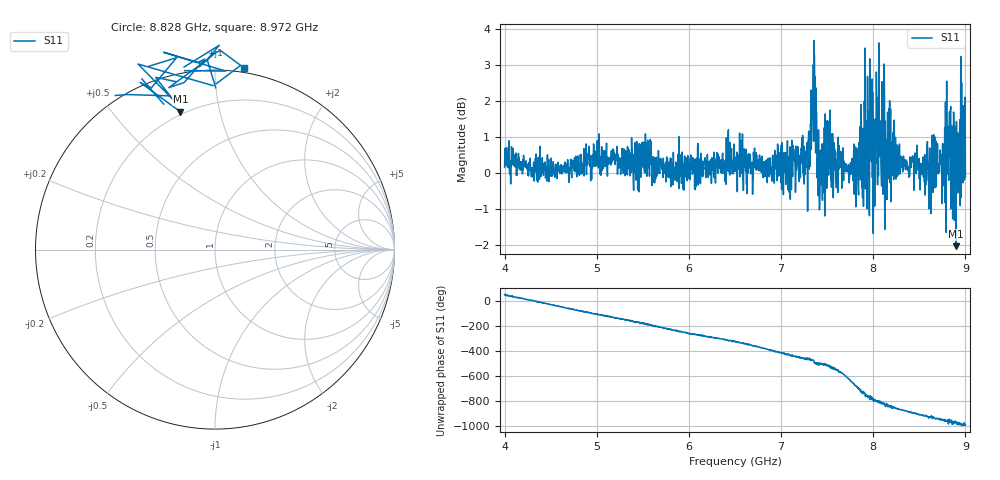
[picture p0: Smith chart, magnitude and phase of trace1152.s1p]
! Created with skrf 1.8.0 (http://scikit-rf.org).
# Hz S RI R 50.0
!freq ReS11 ImS11
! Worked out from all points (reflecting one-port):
!   1601 points, 4 GHz to 9 GHz, reference 50 ohm
!   lowest |S11| = -2.0 dB at 8.9 GHz (marker M1), VSWR 8.62, Z = 9.25 + j38.1 ohm
!   phase of S11 starts at 54 deg and turns -1047 deg over the sweep
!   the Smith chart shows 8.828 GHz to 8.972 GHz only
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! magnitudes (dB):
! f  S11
! 4 GHz  0.2
! 4.625 GHz  0.0
! 5.25 GHz  0.4
! 5.875 GHz  0.3
! 6.5 GHz  0.0
! 7.125 GHz  -0.1
! 7.262 GHz  0.0
! 7.309 GHz  0.4
! 7.344 GHz  1.5
! 7.359 GHz  3.3
! 7.397 GHz  -0.1
! 7.428 GHz  0.6
! 7.512 GHz  1.3
! 7.591 GHz  0.6
! 7.75 GHz  0.0
! 7.875 GHz  -0.4
! 7.928 GHz  1.0
! 8.022 GHz  0.6
! 8.05 GHz  2.1
! 8.066 GHz  0.5
! 8.097 GHz  0.7
! 8.15 GHz  -0.7
! 8.375 GHz  0.2
! 8.766 GHz  0.8
! 8.819 GHz  -0.2
! 8.9 GHz  -2.0
! 8.972 GHz  0.2
! 9 GHz  -0.1
